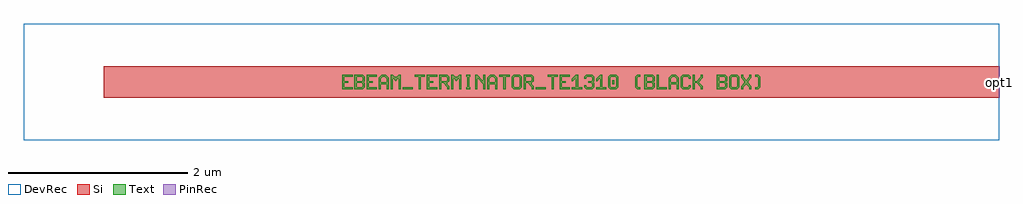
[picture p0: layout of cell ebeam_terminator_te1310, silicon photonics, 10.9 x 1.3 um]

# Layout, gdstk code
import gdstk
lib = gdstk.Library(unit=1e-6, precision=1e-09)
def R(c, l, rs):  # rectangles x0, y0, x1, y1
    for r in rs: c.add(gdstk.rectangle(r[:2], r[2:], *l))
def P(c, l, *ps):  # polygons
    for p in ps: c.add(gdstk.Polygon(p, *l))
Si = (1, 0)
PinRec = (1, 10)
Text = (10, 0)
DevRec = (68, 0)

text = lib.new_cell('TEXT')
R(text, Text, [(0.675,0,0.788,0.023), (2.16,0,2.273,0.023), (3.015,0.056,3.038,0.101)])
P(text, Text, [(0,0),(0,0.158),(0.113,0.158),(0.113,0.135),(0.023,0.135),(0.023,0.09),(0.068,0.09),(0.068,0.068),(0.023,0.068),(0.023,0.023),(0.113,0.023),(0.113,0)],
  [(0.135,0),(0.135,0.158),(0.225,0.158),(0.248,0.135),(0.158,0.135),(0.158,0.09),(0.214,0.09),(0.225,0.101),(0.225,0.124),(0.214,0.135),(0.248,0.135),(0.248,0.09),(0.236,0.079),(0.248,0.068),(0.158,0.068),(0.158,0.023),(0.214,0.023),(0.225,0.034),(0.225,0.056),(0.214,0.068),(0.248,0.068),(0.248,0.023),(0.225,0)],
  [(0.27,0),(0.27,0.158),(0.383,0.158),(0.383,0.135),(0.293,0.135),(0.293,0.09),(0.338,0.09),(0.338,0.068),(0.293,0.068),(0.293,0.023),(0.383,0.023),(0.383,0)],
  [(0.405,0),(0.405,0.124),(0.439,0.158),(0.484,0.158),(0.506,0.135),(0.45,0.135),(0.428,0.113),(0.428,0.079),(0.495,0.079),(0.495,0.113),(0.473,0.135),(0.506,0.135),(0.518,0.124),(0.518,0),(0.495,0),(0.495,0.056),(0.428,0.056),(0.428,0)],
  [(0.54,0),(0.54,0.158),(0.563,0.158),(0.585,0.135),(0.608,0.135),(0.63,0.158),(0.653,0.158),(0.653,0),(0.63,0),(0.63,0.113),(0.619,0.113),(0.596,0.09),(0.574,0.113),(0.563,0.113),(0.563,0)],
  [(0.855,0),(0.855,0.135),(0.81,0.135),(0.81,0.158),(0.923,0.158),(0.923,0.135),(0.878,0.135),(0.878,0)],
  [(0.945,0),(0.945,0.158),(1.058,0.158),(1.058,0.135),(0.968,0.135),(0.968,0.09),(1.013,0.09),(1.013,0.068),(0.968,0.068),(0.968,0.023),(1.058,0.023),(1.058,0)],
  [(1.08,0),(1.08,0.158),(1.17,0.158),(1.193,0.135),(1.103,0.135),(1.103,0.09),(1.159,0.09),(1.17,0.101),(1.17,0.124),(1.159,0.135),(1.193,0.135),(1.193,0.09),(1.17,0.068),(1.17,0.056),(1.193,0.034),(1.193,0),(1.17,0),(1.17,0.023),(1.125,0.068),(1.103,0.068),(1.103,0)],
  [(1.215,0),(1.215,0.158),(1.238,0.158),(1.26,0.135),(1.283,0.135),(1.305,0.158),(1.328,0.158),(1.328,0),(1.305,0),(1.305,0.113),(1.294,0.113),(1.271,0.09),(1.249,0.113),(1.238,0.113),(1.238,0)],
  [(1.384,0),(1.384,0.023),(1.395,0.023),(1.395,0.135),(1.384,0.135),(1.384,0.158),(1.429,0.158),(1.429,0.135),(1.418,0.135),(1.418,0.023),(1.429,0.023),(1.429,0)],
  [(1.485,0),(1.485,0.158),(1.508,0.158),(1.564,0.101),(1.575,0.101),(1.575,0.158),(1.598,0.158),(1.598,0),(1.575,0),(1.575,0.056),(1.519,0.113),(1.508,0.113),(1.508,0)],
  [(1.62,0),(1.62,0.124),(1.654,0.158),(1.699,0.158),(1.721,0.135),(1.665,0.135),(1.643,0.113),(1.643,0.079),(1.71,0.079),(1.71,0.113),(1.688,0.135),(1.721,0.135),(1.733,0.124),(1.733,0),(1.71,0),(1.71,0.056),(1.643,0.056),(1.643,0)],
  [(1.8,0),(1.8,0.135),(1.755,0.135),(1.755,0.158),(1.868,0.158),(1.868,0.135),(1.823,0.135),(1.823,0)],
  [(1.913,0),(1.89,0.023),(1.89,0.135),(1.913,0.158),(1.98,0.158),(2.003,0.135),(2.003,0.079),(1.98,0.079),(1.98,0.124),(1.969,0.135),(1.924,0.135),(1.913,0.124),(1.913,0.034),(1.924,0.023),(1.969,0.023),(1.98,0.034),(1.98,0.079),(2.003,0.079),(2.003,0.023),(1.98,0)],
  [(2.025,0),(2.025,0.158),(2.115,0.158),(2.138,0.135),(2.048,0.135),(2.048,0.09),(2.104,0.09),(2.115,0.101),(2.115,0.124),(2.104,0.135),(2.138,0.135),(2.138,0.09),(2.115,0.068),(2.115,0.056),(2.138,0.034),(2.138,0),(2.115,0),(2.115,0.023),(2.07,0.068),(2.048,0.068),(2.048,0)],
  [(2.34,0),(2.34,0.135),(2.295,0.135),(2.295,0.158),(2.408,0.158),(2.408,0.135),(2.363,0.135),(2.363,0)],
  [(2.43,0),(2.43,0.158),(2.543,0.158),(2.543,0.135),(2.453,0.135),(2.453,0.09),(2.498,0.09),(2.498,0.068),(2.453,0.068),(2.453,0.023),(2.543,0.023),(2.543,0)],
  [(2.565,0),(2.565,0.023),(2.61,0.023),(2.61,0.113),(2.599,0.113),(2.576,0.09),(2.565,0.09),(2.565,0.113),(2.61,0.158),(2.633,0.158),(2.633,0.023),(2.678,0.023),(2.678,0)],
  [(2.723,0),(2.7,0.023),(2.7,0.045),(2.723,0.045),(2.723,0.034),(2.734,0.023),(2.779,0.023),(2.79,0.034),(2.79,0.056),(2.779,0.068),(2.745,0.068),(2.745,0.09),(2.779,0.09),(2.79,0.101),(2.79,0.124),(2.779,0.135),(2.734,0.135),(2.723,0.124),(2.723,0.113),(2.7,0.113),(2.7,0.135),(2.723,0.158),(2.79,0.158),(2.813,0.135),(2.813,0.09),(2.801,0.079),(2.813,0.068),(2.813,0.023),(2.79,0)],
  [(2.835,0),(2.835,0.023),(2.88,0.023),(2.88,0.113),(2.869,0.113),(2.846,0.09),(2.835,0.09),(2.835,0.113),(2.88,0.158),(2.903,0.158),(2.903,0.023),(2.948,0.023),(2.948,0)],
  [(2.993,0),(2.97,0.023),(2.97,0.135),(2.993,0.158),(3.06,0.158),(3.083,0.135),(3.004,0.135),(2.993,0.124),(2.993,0.034),(3.004,0.023),(3.049,0.023),(3.06,0.034),(3.06,0.124),(3.049,0.135),(3.083,0.135),(3.083,0.023),(3.06,0)],
  [(3.296,0),(3.274,0.023),(3.274,0.135),(3.296,0.158),(3.33,0.158),(3.33,0.135),(3.308,0.135),(3.296,0.124),(3.296,0.034),(3.308,0.023),(3.33,0.023),(3.33,0)],
  [(3.375,0),(3.375,0.158),(3.465,0.158),(3.488,0.135),(3.398,0.135),(3.398,0.09),(3.454,0.09),(3.465,0.101),(3.465,0.124),(3.454,0.135),(3.488,0.135),(3.488,0.09),(3.476,0.079),(3.488,0.068),(3.398,0.068),(3.398,0.023),(3.454,0.023),(3.465,0.034),(3.465,0.056),(3.454,0.068),(3.488,0.068),(3.488,0.023),(3.465,0)],
  [(3.51,0),(3.51,0.158),(3.533,0.158),(3.533,0.023),(3.623,0.023),(3.623,0)],
  [(3.645,0),(3.645,0.124),(3.679,0.158),(3.724,0.158),(3.746,0.135),(3.69,0.135),(3.668,0.113),(3.668,0.079),(3.735,0.079),(3.735,0.113),(3.713,0.135),(3.746,0.135),(3.758,0.124),(3.758,0),(3.735,0),(3.735,0.056),(3.668,0.056),(3.668,0)],
  [(3.803,0),(3.78,0.023),(3.78,0.135),(3.803,0.158),(3.87,0.158),(3.893,0.135),(3.893,0.113),(3.87,0.113),(3.87,0.124),(3.859,0.135),(3.814,0.135),(3.803,0.124),(3.803,0.034),(3.814,0.023),(3.859,0.023),(3.87,0.034),(3.87,0.045),(3.893,0.045),(3.893,0.023),(3.87,0)],
  [(3.915,0),(3.915,0.158),(3.938,0.158),(3.938,0.09),(3.96,0.09),(4.005,0.135),(4.005,0.158),(4.028,0.158),(4.028,0.124),(3.983,0.079),(4.028,0.034),(4.028,0),(4.005,0),(4.005,0.023),(3.96,0.068),(3.938,0.068),(3.938,0)],
  [(4.185,0),(4.185,0.158),(4.275,0.158),(4.298,0.135),(4.208,0.135),(4.208,0.09),(4.264,0.09),(4.275,0.101),(4.275,0.124),(4.264,0.135),(4.298,0.135),(4.298,0.09),(4.286,0.079),(4.298,0.068),(4.208,0.068),(4.208,0.023),(4.264,0.023),(4.275,0.034),(4.275,0.056),(4.264,0.068),(4.298,0.068),(4.298,0.023),(4.275,0)],
  [(4.343,0),(4.32,0.023),(4.32,0.135),(4.343,0.158),(4.41,0.158),(4.433,0.135),(4.433,0.079),(4.41,0.079),(4.41,0.124),(4.399,0.135),(4.354,0.135),(4.343,0.124),(4.343,0.034),(4.354,0.023),(4.399,0.023),(4.41,0.034),(4.41,0.079),(4.433,0.079),(4.433,0.023),(4.41,0)],
  [(4.455,0),(4.455,0.034),(4.489,0.068),(4.489,0.09),(4.455,0.124),(4.455,0.158),(4.478,0.158),(4.478,0.135),(4.511,0.101),(4.545,0.135),(4.545,0.158),(4.568,0.158),(4.568,0.124),(4.534,0.09),(4.534,0.068),(4.568,0.034),(4.568,0),(4.545,0),(4.545,0.023),(4.511,0.056),(4.478,0.023),(4.478,0)],
  [(4.613,0),(4.613,0.023),(4.635,0.023),(4.646,0.034),(4.646,0.124),(4.635,0.135),(4.613,0.135),(4.613,0.158),(4.646,0.158),(4.669,0.135),(4.669,0.023),(4.646,0)])

ebeam_terminator_te1310 = lib.new_cell('ebeam_terminator_te1310')
R(ebeam_terminator_te1310, Si, [(-10.005,-0.175,0,0.175)])
R(ebeam_terminator_te1310, DevRec, [(-10.9,-0.65,0,0.65)])
ebeam_terminator_te1310.add(gdstk.FlexPath([(-0.005,0),(0.005,0)], 0.35, ends="flush", simple_path=True, layer=1, datatype=10))  # PinRec
ebeam_terminator_te1310.add(gdstk.Reference(text, (-7.337,-0.079)))
ebeam_terminator_te1310.add(gdstk.Label('opt1', (0,0), layer=1, texttype=10))

lib.write_gds('ebeam_terminator_te1310.gds')
